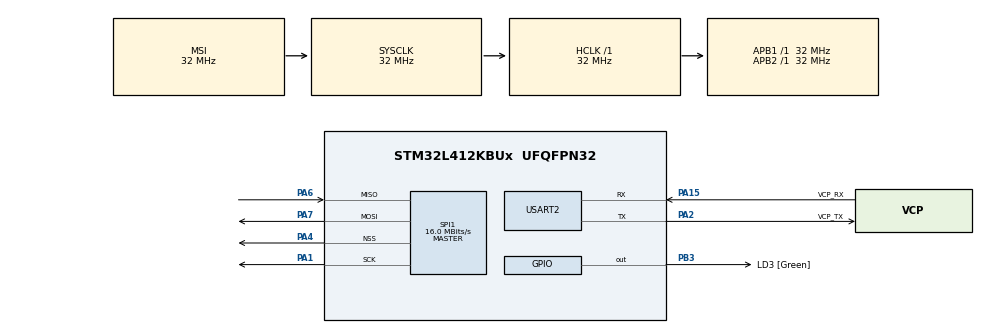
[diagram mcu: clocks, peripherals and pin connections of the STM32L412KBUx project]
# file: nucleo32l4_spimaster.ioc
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Mcu.Family=STM32L4
PB3\ (JTDO/TRACESWO).GPIO_Label=LD3 [Green]
RCC.MSI_VALUE=32000000
PA6.Mode=Full_Duplex_Master
RCC.CortexFreq_Value=32000000
PA7.Mode=Full_Duplex_Master
PA13\ (JTMS/SWDIO).Mode=Serial_Wire
SPI1.VirtualType=VM_MASTER
PA0-CK_IN.Mode=HSE-External-Clock-Source-for-LittleOrca
PC15-OSC32_OUT\ (PC15).Signal=RCC_OSC32_OUT
PA15\ (JTDI).Signal=USART2_RX
PC15-OSC32_OUT\ (PC15).Mode=LSE-External-Oscillator
ProjectManager.StackSize=0x400
PC14-OSC32_IN\ (PC14).Mode=LSE-External-Oscillator
PA14\ (JTCK/SWCLK).Signal=SYS_JTCK-SWCLK
PA15\ (JTDI).Mode=Asynchronous
PA4.Mode=NSS_Signal_Hard_Output
PB3\ (JTDO/TRACESWO).Signal=GPIO_Output
ProjectManager.TargetToolchain=Makefile
SPI1.Direction=SPI_DIRECTION_2LINES
RCC.HCLKFreq_Value=32000000
RCC.FLatency=FLASH_LATENCY_1
RCC.APB2TimFreq_Value=32000000
SPI1.CalculateBaudRate=16.0 MBits/s
RCC.HSICalibrationValue=16
RCC.USBFreq_Value=32000000
PA1.Signal=SPI1_SCK
RCC.AHBFreq_Value=32000000
RCC.HSE_VALUE=8000000
board=NUCLEO-L412KB
USART2.VirtualMode-Asynchronous=VM_ASYNC
RCC.VCOOutputFreq_Value=256000000
PA0-CK_IN.Signal=RCC_CK_IN
PA13\ (JTMS/SWDIO).GPIO_Label=SWDIO
RCC.APB2Freq_Value=32000000
PA1.Mode=Full_Duplex_Master
SPI1.Mode=SPI_MODE_MASTER
RCC.LSE_Drive_Capability=RCC_LSEDRIVE_LOW
RCC.ADCFreq_Value=32000000
PA14\ (JTCK/SWCLK).Mode=Serial_Wire
SPI1.VirtualNSS=VM_NSSHARD
PA15\ (JTDI).GPIO_Label=VCP_RX
Mcu.Name=STM32L412KBUx
PA2.Signal=USART2_TX
PA4.Signal=SPI1_NSS
RCC.SYSCLKFreq_VALUE=32000000
Mcu.Package=UFQFPN32
PA6.Signal=SPI1_MISO
PC14-OSC32_IN\ (PC14).Signal=RCC_OSC32_IN
PA2.GPIO_Label=VCP_TX
ProjectManager.HeapSize=0x200
RCC.HSI_VALUE=16000000
NVIC.PriorityGroup=NVIC_PRIORITYGROUP_4
PA14\ (JTCK/SWCLK).GPIO_Label=SWCLK
RCC.APB1TimFreq_Value=32000000
PA2.Mode=Asynchronous
RCC.APB1Freq_Value=32000000
RCC.MSIClockRange=RCC_MSIRANGE_10
RCC.HSI48_VALUE=48000000
PA13\ (JTMS/SWDIO).Signal=SYS_JTMS-SWDIO
PA7.Signal=SPI1_MOSI

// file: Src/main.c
/* USER CODE BEGIN Header */
/**
  ******************************************************************************
  * @file           : main.c
  * @brief          : Main program body
  ******************************************************************************
  * @attention
  *
  * <h2><center>&copy; Copyright (c) 2021 STMicroelectronics.
  * All rights reserved.</center></h2>
  *
  * This software component is licensed by ST under BSD 3-Clause license,
  * the "License"; You may not use this file except in compliance with the
  * License. You may obtain a copy of the License at:
  *                        opensource.org/licenses/BSD-3-Clause
  *
  ******************************************************************************
  */
/* USER CODE END Header */
#include "main.h"
#include "stm32l4xx_hal.h"
#include "stm32l4xx_hal_gpio.h"
#include "stm32l4xx_hal_spi.h"
#include "stm32l4xx_hal_uart.h"
#include <stdio.h>

SPI_HandleTypeDef hspi1;

UART_HandleTypeDef huart2;

/* USER CODE BEGIN PV */
static uint32_t resets = 0;

/* USER CODE END PV */

void SystemClock_Config(void);
static void MX_GPIO_Init(void);
static void MX_SPI1_Init(void);
static void MX_USART2_UART_Init(void);

/* USER CODE BEGIN 0 */
char nybble2char(uint8_t in)
{
    char c = '\0';
    switch (in)
    {
        case 0:   c = '0'; break;
        case 1:   c = '1'; break;
        case 2:   c = '2'; break;
        case 3:   c = '3'; break;
        case 4:   c = '4'; break;
        case 5:   c = '5'; break;
        case 6:   c = '6'; break;
        case 7:   c = '7'; break;
        case 8:   c = '8'; break;
        case 9:   c = '9'; break;
        case 0xA: c = 'A'; break;
        case 0xB: c = 'B'; break;
        case 0xC: c = 'C'; break;
        case 0xD: c = 'D'; break;
        case 0xE: c = 'E'; break;
        case 0xF: c = 'F'; break;
        default:
            break;
    }
    return c;
}

HAL_StatusTypeDef uart_putint(uint32_t in, size_t inSize)
{
    char c = 0;
    HAL_StatusTypeDef status = HAL_OK;
    for (int i = inSize; i >= 0; i--)
    {
        c = nybble2char((in >> 4*i) & 0xF);
        status = HAL_UART_Transmit(&huart2, (uint8_t *) &c, sizeof(c), 10);
        if (status != HAL_OK)
        {
            break;
        }
    }
    return status;
}

HAL_StatusTypeDef uart_putchar(char c)
{
    return HAL_UART_Transmit(&huart2, (uint8_t *) &c, sizeof(c), 10);
}

HAL_StatusTypeDef uart_puts(char *c)
{
    size_t len = 0;
    while (c[len] != '\0')
        len++;
    return HAL_UART_Transmit(&huart2, (uint8_t *) c, len, 10);
}

int _write(int file, char *data, int len)
{
    if (HAL_UART_Transmit(&huart2, (uint8_t *) data, len, 10) == HAL_OK)
    {
        return len;
    }
    return -1;
}

/* USER CODE END 0 */

int main(void)
{

  /* MCU Configuration--------------------------------------------------------*/

  /* Reset of all peripherals, Initializes the Flash interface and the Systick. */
  HAL_Init();

  /* Configure the system clock */
  SystemClock_Config();

  /* Initialize all configured peripherals */
  MX_GPIO_Init();
  MX_SPI1_Init();
  MX_USART2_UART_Init();
  /* USER CODE BEGIN 2 */
  HAL_GPIO_WritePin(LD3_GPIO_Port, LD3_Pin, GPIO_PIN_RESET);
  HAL_Delay(10);
  HAL_GPIO_WritePin(LD3_GPIO_Port, LD3_Pin, GPIO_PIN_SET);

  /* USER CODE END 2 */

  /* Infinite loop */
  while (1)
  {
      uint8_t rx = 0;
      for (uint8_t tx = 0; tx <= UINT8_MAX; tx++)
      {
          // uart_puts("resets: ");
          // uart_putint(resets, sizeof(resets));
          uart_puts("resets: ");
          uart_putint(resets, sizeof(resets));
          char c = '/';
          HAL_UART_Transmit(&huart2, (uint8_t *) &c, 1, 100);

          uart_putint(tx, sizeof(tx));
          uart_putchar('/');

          HAL_GPIO_WritePin(SPI1_PORT, SPI1_NSS_PIN, GPIO_PIN_RESET);
          HAL_StatusTypeDef status = HAL_SPI_TransmitReceive(&hspi1,
                  (uint8_t *) &tx, (uint8_t *) &rx, sizeof(tx), 100);
          HAL_GPIO_WritePin(SPI1_PORT, SPI1_NSS_PIN, GPIO_PIN_SET);

          if (status != HAL_OK)
          {
              Error_Handler();
          }

          uart_putint(rx, sizeof(rx));
          uart_putchar('\n');

          if (rx != tx-1) // if we did not read back the previous value sent
          {
              if (tx != 0) // not a rollover
              {
                  resets++;
                  HAL_GPIO_WritePin(LD3_GPIO_Port, LD3_Pin, GPIO_PIN_RESET);
                  HAL_Delay(500);
                  HAL_GPIO_WritePin(LD3_GPIO_Port, LD3_Pin, GPIO_PIN_SET);
                  HAL_Delay(500);
                  // HAL_SPI_Transmit(&hspi1, (uint8_t *) &tx, sizeof(tx), 100);
              }
          }

          HAL_Delay(10);
      }
  }
}

void SystemClock_Config(void)
{
  RCC_OscInitTypeDef RCC_OscInitStruct = {0};
  RCC_ClkInitTypeDef RCC_ClkInitStruct = {0};
  RCC_PeriphCLKInitTypeDef PeriphClkInit = {0};

  /** Configure LSE Drive Capability
  */
  HAL_PWR_EnableBkUpAccess();
  __HAL_RCC_LSEDRIVE_CONFIG(RCC_LSEDRIVE_LOW);
  /** Configure the main internal regulator output voltage
  */
  if (HAL_PWREx_ControlVoltageScaling(PWR_REGULATOR_VOLTAGE_SCALE1) != HAL_OK)
  {
    Error_Handler();
  }
  /** Initializes the RCC Oscillators according to the specified parameters
  * in the RCC_OscInitTypeDef structure.
  */
  RCC_OscInitStruct.OscillatorType = RCC_OSCILLATORTYPE_LSE|RCC_OSCILLATORTYPE_MSI;
  RCC_OscInitStruct.LSEState = RCC_LSE_ON;
  RCC_OscInitStruct.MSIState = RCC_MSI_ON;
  RCC_OscInitStruct.MSICalibrationValue = 0;
  RCC_OscInitStruct.MSIClockRange = RCC_MSIRANGE_10;
  RCC_OscInitStruct.PLL.PLLState = RCC_PLL_NONE;
  if (HAL_RCC_OscConfig(&RCC_OscInitStruct) != HAL_OK)
  {
    Error_Handler();
  }
  /** Initializes the CPU, AHB and APB buses clocks
  */
  RCC_ClkInitStruct.ClockType = RCC_CLOCKTYPE_HCLK|RCC_CLOCKTYPE_SYSCLK
                              |RCC_CLOCKTYPE_PCLK1|RCC_CLOCKTYPE_PCLK2;
  RCC_ClkInitStruct.SYSCLKSource = RCC_SYSCLKSOURCE_MSI;
  RCC_ClkInitStruct.AHBCLKDivider = RCC_SYSCLK_DIV1;
  RCC_ClkInitStruct.APB1CLKDivider = RCC_HCLK_DIV1;
  RCC_ClkInitStruct.APB2CLKDivider = RCC_HCLK_DIV1;

  if (HAL_RCC_ClockConfig(&RCC_ClkInitStruct, FLASH_LATENCY_1) != HAL_OK)
  {
    Error_Handler();
  }
  PeriphClkInit.PeriphClockSelection = RCC_PERIPHCLK_USART2;
  PeriphClkInit.Usart2ClockSelection = RCC_USART2CLKSOURCE_PCLK1;
  if (HAL_RCCEx_PeriphCLKConfig(&PeriphClkInit) != HAL_OK)
  {
    Error_Handler();
  }
  /** Enable MSI Auto calibration
  */
  HAL_RCCEx_EnableMSIPLLMode();
}

static void MX_SPI1_Init(void)
{

    /* USER CODE BEGIN SPI1_Init 1 */
    // SPI1_SCK  = PA1
    // SPI1_NSS  = PA4
    // SPI1_MISO = PA6
    // SPI1_MOSI = PA7

    /* USER CODE END SPI1_Init 1 */
    /* SPI1 parameter configuration*/
    hspi1.Instance = SPI1;
    hspi1.Init.Mode = SPI_MODE_MASTER;
    hspi1.Init.Direction = SPI_DIRECTION_2LINES;
    hspi1.Init.DataSize = SPI_DATASIZE_8BIT;

    hspi1.Init.CLKPolarity = SPI_POLARITY_HIGH;
    hspi1.Init.CLKPhase = SPI_PHASE_2EDGE;

    hspi1.Init.NSS = SPI_NSS_HARD_OUTPUT;
    hspi1.Init.BaudRatePrescaler = SPI_BAUDRATEPRESCALER_16;
    hspi1.Init.FirstBit = SPI_FIRSTBIT_MSB;

    hspi1.Init.TIMode = SPI_TIMODE_DISABLE;
    hspi1.Init.CRCCalculation = SPI_CRCCALCULATION_DISABLE;
    hspi1.Init.CRCPolynomial = 7;
    hspi1.Init.CRCLength = SPI_CRC_LENGTH_DATASIZE;
    hspi1.Init.NSSPMode = SPI_NSS_PULSE_ENABLE;
    if (HAL_SPI_Init(&hspi1) != HAL_OK)
    {
        Error_Handler();
    }

}

static void MX_USART2_UART_Init(void)
{

  huart2.Instance = USART2;
  huart2.Init.BaudRate = 115200;
  huart2.Init.WordLength = UART_WORDLENGTH_8B;
  huart2.Init.StopBits = UART_STOPBITS_1;
  huart2.Init.Parity = UART_PARITY_NONE;
  huart2.Init.Mode = UART_MODE_TX_RX;
  huart2.Init.HwFlowCtl = UART_HWCONTROL_NONE;
  huart2.Init.OverSampling = UART_OVERSAMPLING_16;
  huart2.Init.OneBitSampling = UART_ONE_BIT_SAMPLE_DISABLE;
  huart2.AdvancedInit.AdvFeatureInit = UART_ADVFEATURE_NO_INIT;
  if (HAL_UART_Init(&huart2) != HAL_OK)
  {
    Error_Handler();
  }

}

static void MX_GPIO_Init(void)
{
  GPIO_InitTypeDef GPIO_InitStruct = {0};

  /* GPIO Ports Clock Enable */
  __HAL_RCC_GPIOC_CLK_ENABLE();
  __HAL_RCC_GPIOA_CLK_ENABLE();
  __HAL_RCC_GPIOB_CLK_ENABLE();

  /*Configure GPIO pin Output Level */
  HAL_GPIO_WritePin(LD3_GPIO_Port, LD3_Pin, GPIO_PIN_RESET);

  /*Configure GPIO pin : LD3_Pin */
  GPIO_InitStruct.Pin = LD3_Pin;
  GPIO_InitStruct.Mode = GPIO_MODE_OUTPUT_PP;
  GPIO_InitStruct.Pull = GPIO_NOPULL;
  GPIO_InitStruct.Speed = GPIO_SPEED_FREQ_HIGH;
  HAL_GPIO_Init(LD3_GPIO_Port, &GPIO_InitStruct);

  // /*Configure GPIO pin : SPI1_NSS_PIN */
  // HAL_GPIO_WritePin(SPI1_PORT, SPI1_NSS_PIN, GPIO_PIN_RESET);
  // GPIO_InitStruct.Pin = SPI1_NSS_PIN;
  // GPIO_InitStruct.Mode = GPIO_MODE_OUTPUT_OD;
  // GPIO_InitStruct.Pull = GPIO_PULLUP;
  // GPIO_InitStruct.Speed = GPIO_SPEED_FREQ_HIGH;
  // HAL_GPIO_Init(SPI1_PORT, &GPIO_InitStruct);
  // HAL_GPIO_WritePin(SPI1_PORT, SPI1_NSS_PIN, GPIO_PIN_SET);

}

void Error_Handler(void)
{
  /* USER CODE BEGIN Error_Handler_Debug */
  /* User can add his own implementation to report the HAL error return state */
  __disable_irq();
  while (1)
  {
    HAL_GPIO_TogglePin(LD3_GPIO_Port, LD3_Pin);
    HAL_Delay(100);
  }
  /* USER CODE END Error_Handler_Debug */
}

/************************ (C) COPYRIGHT STMicroelectronics *****END OF FILE****/
